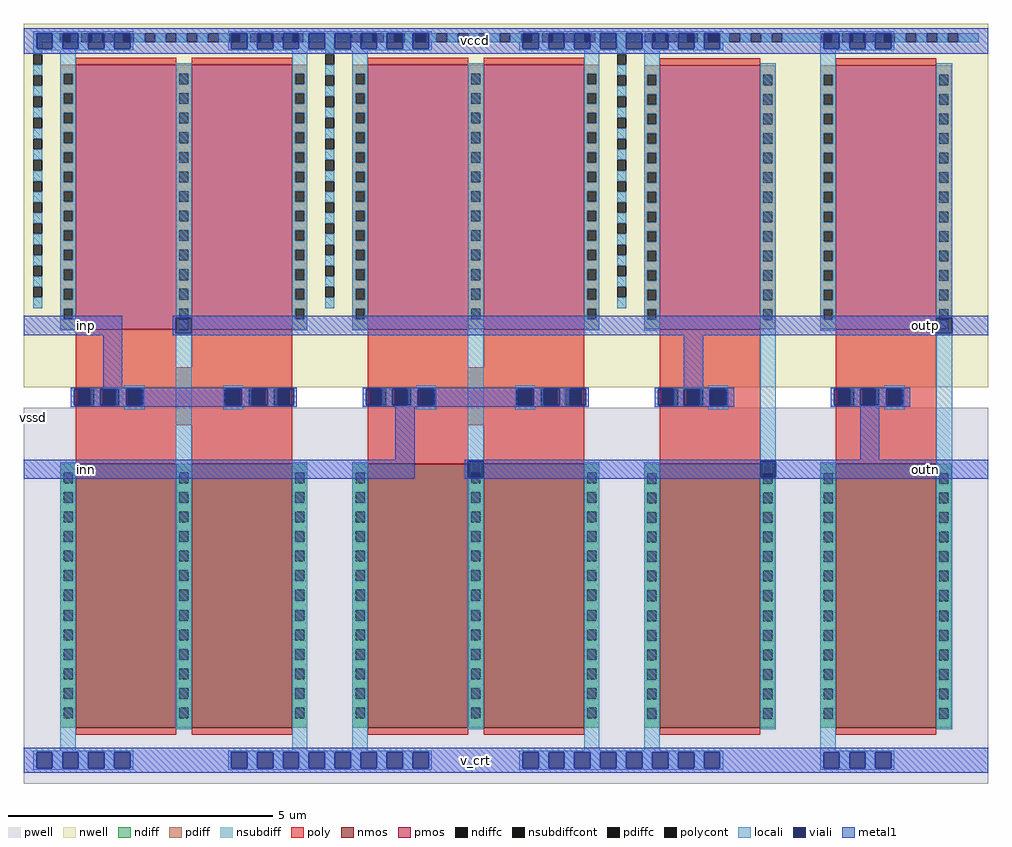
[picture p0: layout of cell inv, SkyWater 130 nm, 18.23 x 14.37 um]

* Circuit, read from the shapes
.subckt inv inn inp outn outp v_crt vccd vssd
XM1 outp inp v_crt vssd sky130_fd_pr__nfet_01v8 w=5 l=1.9 m=2
XM2 outn inn v_crt vssd sky130_fd_pr__nfet_01v8 w=5 l=1.9 m=2
XM3 outn outp v_crt vssd sky130_fd_pr__nfet_01v8 w=5 l=1.9
XM4 outp outn v_crt vssd sky130_fd_pr__nfet_01v8 w=5 l=1.9
XM5 outp inp vccd vccd sky130_fd_pr__pfet_01v8 w=5 l=1.9 m=2
XM6 outn inn vccd vccd sky130_fd_pr__pfet_01v8 w=5 l=1.9 m=2
XM7 outn outp vccd vccd sky130_fd_pr__pfet_01v8 w=5 l=1.9
XM8 outp outn vccd vccd sky130_fd_pr__pfet_01v8 w=5 l=1.9
.ends

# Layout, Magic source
magic
tech sky130A
magscale 1 2
<< pwell >>
rect -400 3308 -328 3380
rect 372 2012 1142 2084
rect 1474 2012 2244 2084
<< poly >>
rect -204 3534 176 3600
rect 234 3534 614 3600
rect -204 3450 614 3534
rect -204 3390 -194 3450
rect -134 3390 -100 3450
rect -40 3390 -6 3450
rect 54 3390 356 3450
rect 416 3390 450 3450
rect 510 3390 544 3450
rect 604 3390 614 3450
rect -204 3314 614 3390
rect -204 3246 176 3314
rect 234 3246 614 3314
rect 900 3534 1280 3600
rect 1338 3534 1718 3600
rect 900 3450 1718 3534
rect 900 3390 910 3450
rect 970 3390 1004 3450
rect 1064 3390 1098 3450
rect 1158 3390 1460 3450
rect 1520 3390 1554 3450
rect 1614 3390 1648 3450
rect 1708 3390 1718 3450
rect 900 3314 1718 3390
rect 900 3246 1280 3314
rect 1338 3246 1718 3314
rect 2004 3450 2384 3582
rect 2004 3390 2014 3450
rect 2074 3390 2108 3450
rect 2168 3390 2202 3450
rect 2262 3390 2384 3450
rect 2004 3258 2384 3390
rect 2670 3450 3050 3582
rect 2670 3390 2680 3450
rect 2740 3390 2774 3450
rect 2834 3390 2868 3450
rect 2928 3390 3050 3450
rect 2670 3258 3050 3390
<< polycont >>
rect -194 3390 -134 3450
rect -100 3390 -40 3450
rect -6 3390 54 3450
rect 356 3390 416 3450
rect 450 3390 510 3450
rect 544 3390 604 3450
rect 910 3390 970 3450
rect 1004 3390 1064 3450
rect 1098 3390 1158 3450
rect 1460 3390 1520 3450
rect 1554 3390 1614 3450
rect 1648 3390 1708 3450
rect 2014 3390 2074 3450
rect 2108 3390 2168 3450
rect 2202 3390 2262 3450
rect 2680 3390 2740 3450
rect 2774 3390 2834 3450
rect 2868 3390 2928 3450
<< locali >>
rect -364 4798 14 4804
rect -364 4738 -352 4798
rect -292 4738 -254 4798
rect -194 4738 -156 4798
rect -96 4738 -58 4798
rect 2 4738 14 4798
rect -364 4732 14 4738
rect 372 4798 1142 4804
rect 372 4738 384 4798
rect 444 4738 482 4798
rect 542 4738 580 4798
rect 640 4738 678 4798
rect 738 4738 776 4798
rect 836 4738 874 4798
rect 934 4738 972 4798
rect 1032 4738 1070 4798
rect 1130 4738 1142 4798
rect 372 4732 1142 4738
rect 1474 4798 2244 4804
rect 1474 4738 1486 4798
rect 1546 4738 1584 4798
rect 1644 4738 1682 4798
rect 1742 4738 1780 4798
rect 1840 4738 1878 4798
rect 1938 4738 1976 4798
rect 2036 4738 2074 4798
rect 2134 4738 2172 4798
rect 2232 4738 2244 4798
rect 1474 4732 2244 4738
rect 2612 4798 2892 4804
rect 2612 4738 2624 4798
rect 2684 4738 2722 4798
rect 2782 4738 2820 4798
rect 2880 4738 2892 4798
rect 2612 4732 2892 4738
rect 175 3722 235 4684
rect -20 3456 56 3466
rect -210 3450 56 3456
rect -134 3390 -112 3450
rect -40 3390 -14 3450
rect 54 3390 56 3450
rect -210 3384 56 3390
rect -20 3374 56 3384
rect -262 2084 -204 3174
rect 175 2166 235 3662
rect 354 3456 430 3466
rect 1084 3456 1160 3466
rect 354 3450 620 3456
rect 354 3390 356 3450
rect 424 3390 450 3450
rect 522 3390 544 3450
rect 354 3384 620 3390
rect 894 3450 1160 3456
rect 970 3390 992 3450
rect 1064 3390 1090 3450
rect 1158 3390 1160 3450
rect 894 3384 1160 3390
rect 354 3374 430 3384
rect 1084 3374 1160 3384
rect 1279 3178 1339 4684
rect 1458 3456 1534 3466
rect 2188 3456 2264 3466
rect 1458 3450 1724 3456
rect 1458 3390 1460 3450
rect 1528 3390 1554 3450
rect 1626 3390 1648 3450
rect 1458 3384 1724 3390
rect 1998 3450 2264 3456
rect 2074 3390 2096 3450
rect 2168 3390 2194 3450
rect 2262 3390 2264 3450
rect 1998 3384 2264 3390
rect 1458 3374 1534 3384
rect 2188 3374 2264 3384
rect 614 2084 672 3174
rect 842 2084 900 3174
rect 2384 3178 2444 4684
rect 3050 3722 3110 4684
rect 2854 3456 2930 3466
rect 2664 3450 2930 3456
rect 2740 3390 2762 3450
rect 2834 3390 2860 3450
rect 2928 3390 2930 3450
rect 2664 3384 2930 3390
rect 2854 3374 2930 3384
rect 1279 2166 1339 3118
rect 1718 2084 1776 3174
rect 1946 2084 2004 3174
rect 2384 2166 2444 3118
rect 2612 2084 2670 3174
rect 3050 2166 3110 3662
rect -364 2078 14 2084
rect -364 2018 -352 2078
rect -292 2018 -254 2078
rect -194 2018 -156 2078
rect -96 2018 -58 2078
rect 2 2018 14 2078
rect -364 2012 14 2018
rect 372 2078 1142 2084
rect 372 2018 384 2078
rect 444 2018 482 2078
rect 542 2018 580 2078
rect 640 2018 678 2078
rect 738 2018 776 2078
rect 836 2018 874 2078
rect 934 2018 972 2078
rect 1032 2018 1070 2078
rect 1130 2018 1142 2078
rect 372 2012 1142 2018
rect 1474 2078 2244 2084
rect 1474 2018 1486 2078
rect 1546 2018 1584 2078
rect 1644 2018 1682 2078
rect 1742 2018 1780 2078
rect 1840 2018 1878 2078
rect 1938 2018 1976 2078
rect 2036 2018 2074 2078
rect 2134 2018 2172 2078
rect 2232 2018 2244 2078
rect 1474 2012 2244 2018
rect 2612 2078 2892 2084
rect 2612 2018 2624 2078
rect 2684 2018 2722 2078
rect 2782 2018 2820 2078
rect 2880 2018 2892 2078
rect 2612 2012 2892 2018
<< viali >>
rect -352 4738 -292 4798
rect -254 4738 -194 4798
rect -156 4738 -96 4798
rect -58 4738 2 4798
rect 384 4738 444 4798
rect 482 4738 542 4798
rect 580 4738 640 4798
rect 678 4738 738 4798
rect 776 4738 836 4798
rect 874 4738 934 4798
rect 972 4738 1032 4798
rect 1070 4738 1130 4798
rect 1486 4738 1546 4798
rect 1584 4738 1644 4798
rect 1682 4738 1742 4798
rect 1780 4738 1840 4798
rect 1878 4738 1938 4798
rect 1976 4738 2036 4798
rect 2074 4738 2134 4798
rect 2172 4738 2232 4798
rect 2624 4738 2684 4798
rect 2722 4738 2782 4798
rect 2820 4738 2880 4798
rect 175 3662 235 3722
rect -210 3390 -194 3450
rect -194 3390 -150 3450
rect -112 3390 -100 3450
rect -100 3390 -52 3450
rect -14 3390 -6 3450
rect -6 3390 46 3450
rect 364 3390 416 3450
rect 416 3390 424 3450
rect 462 3390 510 3450
rect 510 3390 522 3450
rect 560 3390 604 3450
rect 604 3390 620 3450
rect 894 3390 910 3450
rect 910 3390 954 3450
rect 992 3390 1004 3450
rect 1004 3390 1052 3450
rect 1090 3390 1098 3450
rect 1098 3390 1150 3450
rect 1468 3390 1520 3450
rect 1520 3390 1528 3450
rect 1566 3390 1614 3450
rect 1614 3390 1626 3450
rect 1664 3390 1708 3450
rect 1708 3390 1724 3450
rect 1998 3390 2014 3450
rect 2014 3390 2058 3450
rect 2096 3390 2108 3450
rect 2108 3390 2156 3450
rect 2194 3390 2202 3450
rect 2202 3390 2254 3450
rect 1279 3118 1339 3178
rect 3050 3662 3110 3722
rect 2664 3390 2680 3450
rect 2680 3390 2724 3450
rect 2762 3390 2774 3450
rect 2774 3390 2822 3450
rect 2860 3390 2868 3450
rect 2868 3390 2920 3450
rect 2384 3118 2444 3178
rect -352 2018 -292 2078
rect -254 2018 -194 2078
rect -156 2018 -96 2078
rect -58 2018 2 2078
rect 384 2018 444 2078
rect 482 2018 542 2078
rect 580 2018 640 2078
rect 678 2018 738 2078
rect 776 2018 836 2078
rect 874 2018 934 2078
rect 972 2018 1032 2078
rect 1070 2018 1130 2078
rect 1486 2018 1546 2078
rect 1584 2018 1644 2078
rect 1682 2018 1742 2078
rect 1780 2018 1840 2078
rect 1878 2018 1938 2078
rect 1976 2018 2036 2078
rect 2074 2018 2134 2078
rect 2172 2018 2232 2078
rect 2624 2018 2684 2078
rect 2722 2018 2782 2078
rect 2820 2018 2880 2078
<< metal1 >>
rect -400 4798 3246 4816
rect -400 4738 -352 4798
rect -292 4738 -254 4798
rect -194 4738 -156 4798
rect -96 4738 -58 4798
rect 2 4738 384 4798
rect 444 4738 482 4798
rect 542 4738 580 4798
rect 640 4738 678 4798
rect 738 4738 776 4798
rect 836 4738 874 4798
rect 934 4738 972 4798
rect 1032 4738 1070 4798
rect 1130 4738 1486 4798
rect 1546 4738 1584 4798
rect 1644 4738 1682 4798
rect 1742 4738 1780 4798
rect 1840 4738 1878 4798
rect 1938 4738 1976 4798
rect 2036 4738 2074 4798
rect 2134 4738 2172 4798
rect 2232 4738 2624 4798
rect 2684 4738 2722 4798
rect 2782 4738 2820 4798
rect 2880 4738 3246 4798
rect -400 4720 3246 4738
rect -400 3656 -28 3728
rect 163 3722 3246 3728
rect 163 3662 175 3722
rect 235 3662 3050 3722
rect 3110 3662 3246 3722
rect 163 3656 3246 3662
rect -100 3456 -28 3656
rect 2096 3456 2168 3656
rect -222 3450 632 3456
rect -222 3390 -210 3450
rect -150 3390 -112 3450
rect -52 3390 -14 3450
rect 46 3390 364 3450
rect 424 3390 462 3450
rect 522 3390 560 3450
rect 620 3390 632 3450
rect -222 3384 632 3390
rect 882 3450 1736 3456
rect 882 3390 894 3450
rect 954 3390 992 3450
rect 1052 3390 1090 3450
rect 1150 3390 1468 3450
rect 1528 3390 1566 3450
rect 1626 3390 1664 3450
rect 1724 3390 1736 3450
rect 882 3384 1736 3390
rect 1986 3450 2286 3456
rect 1986 3390 1998 3450
rect 2058 3390 2096 3450
rect 2156 3390 2194 3450
rect 2254 3390 2286 3450
rect 1986 3384 2286 3390
rect 2652 3450 2952 3456
rect 2652 3390 2664 3450
rect 2724 3390 2762 3450
rect 2822 3390 2860 3450
rect 2920 3390 2952 3450
rect 2652 3384 2952 3390
rect 1005 3184 1077 3384
rect 2762 3184 2834 3384
rect -400 3112 1077 3184
rect 1267 3178 3246 3184
rect 1267 3118 1279 3178
rect 1339 3118 2384 3178
rect 2444 3118 3246 3178
rect 1267 3112 3246 3118
rect -400 2078 3246 2096
rect -400 2018 -352 2078
rect -292 2018 -254 2078
rect -194 2018 -156 2078
rect -96 2018 -58 2078
rect 2 2018 384 2078
rect 444 2018 482 2078
rect 542 2018 580 2078
rect 640 2018 678 2078
rect 738 2018 776 2078
rect 836 2018 874 2078
rect 934 2018 972 2078
rect 1032 2018 1070 2078
rect 1130 2018 1486 2078
rect 1546 2018 1584 2078
rect 1644 2018 1682 2078
rect 1742 2018 1780 2078
rect 1840 2018 1878 2078
rect 1938 2018 1976 2078
rect 2036 2018 2074 2078
rect 2134 2018 2172 2078
rect 2232 2018 2624 2078
rect 2684 2018 2722 2078
rect 2782 2018 2820 2078
rect 2880 2018 3246 2078
rect -400 2000 3246 2018
use nfet_12  nfet_12_0
transform 1 0 -262 0 1 2170
box -138 -210 1072 1210
use nfet_12  nfet_12_1
transform 1 0 842 0 1 2170
box -138 -210 1072 1210
use nfet_34  nfet_34_0
transform 1 0 2004 0 1 2170
box -196 -210 576 1210
use nfet_34  nfet_34_1
transform 1 0 2670 0 1 2170
box -196 -210 576 1210
use pfet_12  pfet_12_0
transform 1 0 -204 0 1 3679
box -196 -220 1014 1155
use pfet_12  pfet_12_1
transform 1 0 900 0 1 3679
box -196 -220 1014 1155
use pfet_34  pfet_34_0
transform 1 0 1808 0 1 3460
box 0 -2 772 1374
use pfet_34  pfet_34_1
transform 1 0 2474 0 1 3460
box 0 -2 772 1374
<< labels >>
flabel metal1 s 1260 4720 1356 4816 1 FreeSans 100 0 0 0 vccd
flabel metal1 s 1260 2000 1356 2096 1 FreeSans 100 0 0 0 v_crt
flabel metal1 s -200 3112 -128 3184 1 FreeSans 100 0 0 0 inn
flabel metal1 s -200 3656 -128 3728 1 FreeSans 100 0 0 0 inp
flabel metal1 s 2974 3656 3046 3728 1 FreeSans 100 0 0 0 outp
flabel metal1 s 2974 3112 3046 3184 1 FreeSans 100 0 0 0 outn
flabel pwell s -400 3308 -328 3380 1 FreeSans 100 0 0 0 vssd
<< end >>

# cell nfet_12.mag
magic
tech sky130A
<< pwell >>
rect -69 -105 536 605
<< nmos >>
rect 29 0 219 500
rect 248 0 438 500
<< ndiff >>
rect 0 483 29 500
rect 0 463 6 483
rect 23 463 29 483
rect 0 446 29 463
rect 0 426 6 446
rect 23 426 29 446
rect 0 409 29 426
rect 0 389 6 409
rect 23 389 29 409
rect 0 372 29 389
rect 0 352 6 372
rect 23 352 29 372
rect 0 335 29 352
rect 0 315 6 335
rect 23 315 29 335
rect 0 298 29 315
rect 0 278 6 298
rect 23 278 29 298
rect 0 261 29 278
rect 0 241 6 261
rect 23 241 29 261
rect 0 223 29 241
rect 0 203 6 223
rect 23 203 29 223
rect 0 186 29 203
rect 0 166 6 186
rect 23 166 29 186
rect 0 149 29 166
rect 0 129 6 149
rect 23 129 29 149
rect 0 112 29 129
rect 0 92 6 112
rect 23 92 29 112
rect 0 75 29 92
rect 0 55 6 75
rect 23 55 29 75
rect 0 38 29 55
rect 0 18 6 38
rect 23 18 29 38
rect 0 0 29 18
rect 219 483 248 500
rect 219 463 225 483
rect 242 463 248 483
rect 219 446 248 463
rect 219 426 225 446
rect 242 426 248 446
rect 219 409 248 426
rect 219 389 225 409
rect 242 389 248 409
rect 219 372 248 389
rect 219 352 225 372
rect 242 352 248 372
rect 219 335 248 352
rect 219 315 225 335
rect 242 315 248 335
rect 219 298 248 315
rect 219 278 225 298
rect 242 278 248 298
rect 219 261 248 278
rect 219 241 225 261
rect 242 241 248 261
rect 219 223 248 241
rect 219 203 225 223
rect 242 203 248 223
rect 219 186 248 203
rect 219 166 225 186
rect 242 166 248 186
rect 219 149 248 166
rect 219 129 225 149
rect 242 129 248 149
rect 219 112 248 129
rect 219 92 225 112
rect 242 92 248 112
rect 219 75 248 92
rect 219 55 225 75
rect 242 55 248 75
rect 219 38 248 55
rect 219 18 225 38
rect 242 18 248 38
rect 219 0 248 18
rect 438 483 467 500
rect 438 463 444 483
rect 461 463 467 483
rect 438 446 467 463
rect 438 426 444 446
rect 461 426 467 446
rect 438 409 467 426
rect 438 389 444 409
rect 461 389 467 409
rect 438 372 467 389
rect 438 352 444 372
rect 461 352 467 372
rect 438 335 467 352
rect 438 315 444 335
rect 461 315 467 335
rect 438 298 467 315
rect 438 278 444 298
rect 461 278 467 298
rect 438 261 467 278
rect 438 241 444 261
rect 461 241 467 261
rect 438 223 467 241
rect 438 203 444 223
rect 461 203 467 223
rect 438 186 467 203
rect 438 166 444 186
rect 461 166 467 186
rect 438 149 467 166
rect 438 129 444 149
rect 461 129 467 149
rect 438 112 467 129
rect 438 92 444 112
rect 461 92 467 112
rect 438 75 467 92
rect 438 55 444 75
rect 461 55 467 75
rect 438 38 467 55
rect 438 18 444 38
rect 461 18 467 38
rect 438 0 467 18
<< ndiffc >>
rect 6 463 23 483
rect 6 426 23 446
rect 6 389 23 409
rect 6 352 23 372
rect 6 315 23 335
rect 6 278 23 298
rect 6 241 23 261
rect 6 203 23 223
rect 6 166 23 186
rect 6 129 23 149
rect 6 92 23 112
rect 6 55 23 75
rect 6 18 23 38
rect 225 463 242 483
rect 225 426 242 446
rect 225 389 242 409
rect 225 352 242 372
rect 225 315 242 335
rect 225 278 242 298
rect 225 241 242 261
rect 225 203 242 223
rect 225 166 242 186
rect 225 129 242 149
rect 225 92 242 112
rect 225 55 242 75
rect 225 18 242 38
rect 444 463 461 483
rect 444 426 461 446
rect 444 389 461 409
rect 444 352 461 372
rect 444 315 461 335
rect 444 278 461 298
rect 444 241 461 261
rect 444 203 461 223
rect 444 166 461 186
rect 444 129 461 149
rect 444 92 461 112
rect 444 55 461 75
rect 444 18 461 38
<< poly >>
rect 29 500 219 544
rect 248 500 438 544
rect 29 -13 219 0
rect 248 -13 438 0
<< locali >>
rect 5 483 24 502
rect 5 463 6 483
rect 23 463 24 483
rect 5 446 24 463
rect 5 426 6 446
rect 23 426 24 446
rect 5 409 24 426
rect 5 389 6 409
rect 23 389 24 409
rect 5 372 24 389
rect 5 352 6 372
rect 23 352 24 372
rect 5 335 24 352
rect 5 315 6 335
rect 23 315 24 335
rect 5 298 24 315
rect 5 278 6 298
rect 23 278 24 298
rect 5 261 24 278
rect 5 241 6 261
rect 23 241 24 261
rect 5 223 24 241
rect 5 203 6 223
rect 23 203 24 223
rect 5 186 24 203
rect 5 166 6 186
rect 23 166 24 186
rect 5 149 24 166
rect 5 129 6 149
rect 23 129 24 149
rect 5 112 24 129
rect 5 92 6 112
rect 23 92 24 112
rect 5 75 24 92
rect 5 55 6 75
rect 23 55 24 75
rect 5 38 24 55
rect 5 18 6 38
rect 23 18 24 38
rect 5 -2 24 18
rect 224 483 243 502
rect 224 463 225 483
rect 242 463 243 483
rect 224 446 243 463
rect 224 426 225 446
rect 242 426 243 446
rect 224 409 243 426
rect 224 389 225 409
rect 242 389 243 409
rect 224 372 243 389
rect 224 352 225 372
rect 242 352 243 372
rect 224 335 243 352
rect 224 315 225 335
rect 242 315 243 335
rect 224 298 243 315
rect 224 278 225 298
rect 242 278 243 298
rect 224 261 243 278
rect 224 241 225 261
rect 242 241 243 261
rect 224 223 243 241
rect 224 203 225 223
rect 242 203 243 223
rect 224 186 243 203
rect 224 166 225 186
rect 242 166 243 186
rect 224 149 243 166
rect 224 129 225 149
rect 242 129 243 149
rect 224 112 243 129
rect 224 92 225 112
rect 242 92 243 112
rect 224 75 243 92
rect 224 55 225 75
rect 242 55 243 75
rect 224 38 243 55
rect 224 18 225 38
rect 242 18 243 38
rect 224 -2 243 18
rect 443 483 462 502
rect 443 463 444 483
rect 461 463 462 483
rect 443 446 462 463
rect 443 426 444 446
rect 461 426 462 446
rect 443 409 462 426
rect 443 389 444 409
rect 461 389 462 409
rect 443 372 462 389
rect 443 352 444 372
rect 461 352 462 372
rect 443 335 462 352
rect 443 315 444 335
rect 461 315 462 335
rect 443 298 462 315
rect 443 278 444 298
rect 461 278 462 298
rect 443 261 462 278
rect 443 241 444 261
rect 461 241 462 261
rect 443 223 462 241
rect 443 203 444 223
rect 461 203 462 223
rect 443 186 462 203
rect 443 166 444 186
rect 461 166 462 186
rect 443 149 462 166
rect 443 129 444 149
rect 461 129 462 149
rect 443 112 462 129
rect 443 92 444 112
rect 461 92 462 112
rect 443 75 462 92
rect 443 55 444 75
rect 461 55 462 75
rect 443 38 462 55
rect 443 18 444 38
rect 461 18 462 38
rect 443 -2 462 18
<< end >>

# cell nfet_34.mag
magic
tech sky130A
<< pwell >>
rect -98 -105 288 605
<< nmos >>
rect 0 0 190 500
<< ndiff >>
rect -29 482 0 500
rect -29 462 -23 482
rect -6 462 0 482
rect -29 445 0 462
rect -29 425 -23 445
rect -6 425 0 445
rect -29 408 0 425
rect -29 388 -23 408
rect -6 388 0 408
rect -29 371 0 388
rect -29 351 -23 371
rect -6 351 0 371
rect -29 334 0 351
rect -29 314 -23 334
rect -6 314 0 334
rect -29 297 0 314
rect -29 277 -23 297
rect -6 277 0 297
rect -29 260 0 277
rect -29 240 -23 260
rect -6 240 0 260
rect -29 222 0 240
rect -29 202 -23 222
rect -6 202 0 222
rect -29 185 0 202
rect -29 165 -23 185
rect -6 165 0 185
rect -29 148 0 165
rect -29 128 -23 148
rect -6 128 0 148
rect -29 111 0 128
rect -29 91 -23 111
rect -6 91 0 111
rect -29 74 0 91
rect -29 54 -23 74
rect -6 54 0 74
rect -29 37 0 54
rect -29 17 -23 37
rect -6 17 0 37
rect -29 0 0 17
rect 190 482 219 500
rect 190 462 196 482
rect 213 462 219 482
rect 190 445 219 462
rect 190 425 196 445
rect 213 425 219 445
rect 190 408 219 425
rect 190 388 196 408
rect 213 388 219 408
rect 190 371 219 388
rect 190 351 196 371
rect 213 351 219 371
rect 190 334 219 351
rect 190 314 196 334
rect 213 314 219 334
rect 190 297 219 314
rect 190 277 196 297
rect 213 277 219 297
rect 190 260 219 277
rect 190 240 196 260
rect 213 240 219 260
rect 190 222 219 240
rect 190 202 196 222
rect 213 202 219 222
rect 190 185 219 202
rect 190 165 196 185
rect 213 165 219 185
rect 190 148 219 165
rect 190 128 196 148
rect 213 128 219 148
rect 190 111 219 128
rect 190 91 196 111
rect 213 91 219 111
rect 190 74 219 91
rect 190 54 196 74
rect 213 54 219 74
rect 190 37 219 54
rect 190 17 196 37
rect 213 17 219 37
rect 190 0 219 17
<< ndiffc >>
rect -23 462 -6 482
rect -23 425 -6 445
rect -23 388 -6 408
rect -23 351 -6 371
rect -23 314 -6 334
rect -23 277 -6 297
rect -23 240 -6 260
rect -23 202 -6 222
rect -23 165 -6 185
rect -23 128 -6 148
rect -23 91 -6 111
rect -23 54 -6 74
rect -23 17 -6 37
rect 196 462 213 482
rect 196 425 213 445
rect 196 388 213 408
rect 196 351 213 371
rect 196 314 213 334
rect 196 277 213 297
rect 196 240 213 260
rect 196 202 213 222
rect 196 165 213 185
rect 196 128 213 148
rect 196 91 213 111
rect 196 54 213 74
rect 196 17 213 37
<< poly >>
rect 0 500 190 544
rect 0 -13 190 0
<< locali >>
rect -23 482 -6 502
rect -23 445 -6 462
rect -23 408 -6 425
rect -23 371 -6 388
rect -23 334 -6 351
rect -23 297 -6 314
rect -23 260 -6 277
rect -23 222 -6 240
rect -23 185 -6 202
rect -23 148 -6 165
rect -23 111 -6 128
rect -23 74 -6 91
rect -23 37 -6 54
rect -23 -2 -6 17
rect 196 482 213 502
rect 196 445 213 462
rect 196 408 213 425
rect 196 371 213 388
rect 196 334 213 351
rect 196 297 213 314
rect 196 260 213 277
rect 196 222 213 240
rect 196 185 213 202
rect 196 148 213 165
rect 196 111 213 128
rect 196 74 213 91
rect 196 37 213 54
rect 196 -2 213 17
<< end >>

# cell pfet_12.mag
magic
tech sky130A
magscale 1 2
<< nwell >>
rect -196 -220 1014 1155
<< pmos >>
rect 0 -1 380 999
rect 438 -1 818 999
<< pdiff >>
rect -58 965 0 999
rect -58 925 -46 965
rect -12 925 0 965
rect -58 891 0 925
rect -58 851 -46 891
rect -12 851 0 891
rect -58 817 0 851
rect -58 777 -46 817
rect -12 777 0 817
rect -58 743 0 777
rect -58 703 -46 743
rect -12 703 0 743
rect -58 669 0 703
rect -58 629 -46 669
rect -12 629 0 669
rect -58 595 0 629
rect -58 555 -46 595
rect -12 555 0 595
rect -58 521 0 555
rect -58 481 -46 521
rect -12 481 0 521
rect -58 447 0 481
rect -58 407 -46 447
rect -12 407 0 447
rect -58 373 0 407
rect -58 333 -46 373
rect -12 333 0 373
rect -58 299 0 333
rect -58 259 -46 299
rect -12 259 0 299
rect -58 225 0 259
rect -58 185 -46 225
rect -12 185 0 225
rect -58 151 0 185
rect -58 111 -46 151
rect -12 111 0 151
rect -58 77 0 111
rect -58 37 -46 77
rect -12 37 0 77
rect -58 -1 0 37
rect 380 965 438 999
rect 380 925 392 965
rect 426 925 438 965
rect 380 891 438 925
rect 380 851 392 891
rect 426 851 438 891
rect 380 817 438 851
rect 380 777 392 817
rect 426 777 438 817
rect 380 743 438 777
rect 380 703 392 743
rect 426 703 438 743
rect 380 669 438 703
rect 380 629 392 669
rect 426 629 438 669
rect 380 595 438 629
rect 380 555 392 595
rect 426 555 438 595
rect 380 521 438 555
rect 380 481 392 521
rect 426 481 438 521
rect 380 447 438 481
rect 380 407 392 447
rect 426 407 438 447
rect 380 373 438 407
rect 380 333 392 373
rect 426 333 438 373
rect 380 299 438 333
rect 380 259 392 299
rect 426 259 438 299
rect 380 225 438 259
rect 380 185 392 225
rect 426 185 438 225
rect 380 151 438 185
rect 380 111 392 151
rect 426 111 438 151
rect 380 77 438 111
rect 380 37 392 77
rect 426 37 438 77
rect 380 -1 438 37
rect 818 965 876 999
rect 818 925 830 965
rect 864 925 876 965
rect 818 891 876 925
rect 818 851 830 891
rect 864 851 876 891
rect 818 817 876 851
rect 818 777 830 817
rect 864 777 876 817
rect 818 743 876 777
rect 818 703 830 743
rect 864 703 876 743
rect 818 669 876 703
rect 818 629 830 669
rect 864 629 876 669
rect 818 595 876 629
rect 818 555 830 595
rect 864 555 876 595
rect 818 521 876 555
rect 818 481 830 521
rect 864 481 876 521
rect 818 447 876 481
rect 818 407 830 447
rect 864 407 876 447
rect 818 373 876 407
rect 818 333 830 373
rect 864 333 876 373
rect 818 299 876 333
rect 818 259 830 299
rect 864 259 876 299
rect 818 225 876 259
rect 818 185 830 225
rect 864 185 876 225
rect 818 151 876 185
rect 818 111 830 151
rect 864 111 876 151
rect 818 77 876 111
rect 818 37 830 77
rect 864 37 876 77
rect 818 -1 876 37
<< pdiffc >>
rect -46 925 -12 965
rect -46 851 -12 891
rect -46 777 -12 817
rect -46 703 -12 743
rect -46 629 -12 669
rect -46 555 -12 595
rect -46 481 -12 521
rect -46 407 -12 447
rect -46 333 -12 373
rect -46 259 -12 299
rect -46 185 -12 225
rect -46 111 -12 151
rect -46 37 -12 77
rect 392 925 426 965
rect 392 851 426 891
rect 392 777 426 817
rect 392 703 426 743
rect 392 629 426 669
rect 392 555 426 595
rect 392 481 426 521
rect 392 407 426 447
rect 392 333 426 373
rect 392 259 426 299
rect 392 185 426 225
rect 392 111 426 151
rect 392 37 426 77
rect 830 925 864 965
rect 830 851 864 891
rect 830 777 864 817
rect 830 703 864 743
rect 830 629 864 669
rect 830 555 864 595
rect 830 481 864 521
rect 830 407 864 447
rect 830 333 864 373
rect 830 259 864 299
rect 830 185 864 225
rect 830 111 864 151
rect 830 37 864 77
<< nsubdiff >>
rect -160 1085 -60 1119
rect -20 1085 20 1119
rect 60 1085 100 1119
rect 140 1085 180 1119
rect 220 1085 260 1119
rect 300 1085 340 1119
rect 380 1085 420 1119
rect 460 1085 500 1119
rect 540 1085 580 1119
rect 620 1085 660 1119
rect 700 1085 740 1119
rect 780 1085 820 1119
rect 860 1085 978 1119
rect -160 1039 -126 1085
rect 944 1039 978 1085
rect -160 959 -126 999
rect -160 879 -126 919
rect -160 799 -126 839
rect -160 719 -126 759
rect -160 639 -126 679
rect -160 559 -126 599
rect -160 479 -126 519
rect -160 399 -126 439
rect -160 319 -126 359
rect -160 239 -126 279
rect -160 159 -126 199
rect -160 79 -126 119
rect 944 959 978 999
rect 944 879 978 919
rect 944 799 978 839
rect 944 719 978 759
rect 944 639 978 679
rect 944 559 978 599
rect 944 479 978 519
rect 944 399 978 439
rect 944 319 978 359
rect 944 239 978 279
rect 944 159 978 199
rect 944 79 978 119
<< nsubdiffcont >>
rect -60 1085 -20 1119
rect 20 1085 60 1119
rect 100 1085 140 1119
rect 180 1085 220 1119
rect 260 1085 300 1119
rect 340 1085 380 1119
rect 420 1085 460 1119
rect 500 1085 540 1119
rect 580 1085 620 1119
rect 660 1085 700 1119
rect 740 1085 780 1119
rect 820 1085 860 1119
rect -160 999 -126 1039
rect 944 999 978 1039
rect -160 919 -126 959
rect -160 839 -126 879
rect -160 759 -126 799
rect -160 679 -126 719
rect -160 599 -126 639
rect -160 519 -126 559
rect -160 439 -126 479
rect -160 359 -126 399
rect -160 279 -126 319
rect -160 199 -126 239
rect -160 119 -126 159
rect 944 919 978 959
rect 944 839 978 879
rect 944 759 978 799
rect 944 679 978 719
rect 944 599 978 639
rect 944 519 978 559
rect 944 439 978 479
rect 944 359 978 399
rect 944 279 978 319
rect 944 199 978 239
rect 944 119 978 159
<< poly >>
rect 0 999 380 1025
rect 438 999 818 1025
rect 0 -98 380 -1
rect 438 -98 818 -1
<< locali >>
rect -160 1085 -60 1119
rect -20 1085 20 1119
rect 60 1085 100 1119
rect 140 1085 180 1119
rect 220 1085 260 1119
rect 300 1085 340 1119
rect 380 1085 420 1119
rect 460 1085 500 1119
rect 540 1085 580 1119
rect 620 1085 660 1119
rect 700 1085 740 1119
rect 780 1085 820 1119
rect 860 1085 978 1119
rect -160 1039 -126 1085
rect -160 959 -126 999
rect -160 879 -126 919
rect -160 799 -126 839
rect -160 719 -126 759
rect -160 639 -126 679
rect -160 559 -126 599
rect -160 479 -126 519
rect -160 399 -126 439
rect -160 319 -126 359
rect -160 239 -126 279
rect -160 159 -126 199
rect -160 79 -126 119
rect -58 965 0 1085
rect -58 925 -46 965
rect -12 925 0 965
rect -58 891 0 925
rect -58 851 -46 891
rect -12 851 0 891
rect -58 817 0 851
rect -58 777 -46 817
rect -12 777 0 817
rect -58 743 0 777
rect -58 703 -46 743
rect -12 703 0 743
rect -58 669 0 703
rect -58 629 -46 669
rect -12 629 0 669
rect -58 595 0 629
rect -58 555 -46 595
rect -12 555 0 595
rect -58 521 0 555
rect -58 481 -46 521
rect -12 481 0 521
rect -58 447 0 481
rect -58 407 -46 447
rect -12 407 0 447
rect -58 373 0 407
rect -58 333 -46 373
rect -12 333 0 373
rect -58 299 0 333
rect -58 259 -46 299
rect -12 259 0 299
rect -58 225 0 259
rect -58 185 -46 225
rect -12 185 0 225
rect -58 151 0 185
rect -58 111 -46 151
rect -12 111 0 151
rect -58 77 0 111
rect -58 37 -46 77
rect -12 37 0 77
rect -58 -5 0 37
rect 392 965 426 1003
rect 392 891 426 925
rect 392 817 426 851
rect 392 743 426 777
rect 392 669 426 703
rect 392 595 426 629
rect 392 521 426 555
rect 392 447 426 481
rect 392 373 426 407
rect 392 299 426 333
rect 392 225 426 259
rect 392 151 426 185
rect 392 77 426 111
rect 392 -5 426 37
rect 818 965 876 1085
rect 818 925 830 965
rect 864 925 876 965
rect 818 891 876 925
rect 818 851 830 891
rect 864 851 876 891
rect 818 817 876 851
rect 818 777 830 817
rect 864 777 876 817
rect 818 743 876 777
rect 818 703 830 743
rect 864 703 876 743
rect 818 669 876 703
rect 818 629 830 669
rect 864 629 876 669
rect 818 595 876 629
rect 818 555 830 595
rect 864 555 876 595
rect 818 521 876 555
rect 818 481 830 521
rect 864 481 876 521
rect 818 447 876 481
rect 818 407 830 447
rect 864 407 876 447
rect 818 373 876 407
rect 818 333 830 373
rect 864 333 876 373
rect 818 299 876 333
rect 818 259 830 299
rect 864 259 876 299
rect 818 225 876 259
rect 818 185 830 225
rect 864 185 876 225
rect 818 151 876 185
rect 818 111 830 151
rect 864 111 876 151
rect 818 77 876 111
rect 944 1039 978 1085
rect 944 959 978 999
rect 944 879 978 919
rect 944 799 978 839
rect 944 719 978 759
rect 944 639 978 679
rect 944 559 978 599
rect 944 479 978 519
rect 944 399 978 439
rect 944 319 978 359
rect 944 239 978 279
rect 944 159 978 199
rect 944 79 978 119
rect 818 37 830 77
rect 864 37 876 77
rect 818 -5 876 37
<< end >>

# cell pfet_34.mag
magic
tech sky130A
magscale 1 2
<< nwell >>
rect 0 -2 772 1374
<< pmos >>
rect 196 217 576 1217
<< pdiff >>
rect 138 1181 196 1217
rect 138 1141 150 1181
rect 184 1141 196 1181
rect 138 1107 196 1141
rect 138 1067 150 1107
rect 184 1067 196 1107
rect 138 1033 196 1067
rect 138 993 150 1033
rect 184 993 196 1033
rect 138 959 196 993
rect 138 919 150 959
rect 184 919 196 959
rect 138 885 196 919
rect 138 845 150 885
rect 184 845 196 885
rect 138 811 196 845
rect 138 771 150 811
rect 184 771 196 811
rect 138 737 196 771
rect 138 697 150 737
rect 184 697 196 737
rect 138 663 196 697
rect 138 623 150 663
rect 184 623 196 663
rect 138 589 196 623
rect 138 549 150 589
rect 184 549 196 589
rect 138 515 196 549
rect 138 475 150 515
rect 184 475 196 515
rect 138 441 196 475
rect 138 401 150 441
rect 184 401 196 441
rect 138 367 196 401
rect 138 327 150 367
rect 184 327 196 367
rect 138 293 196 327
rect 138 253 150 293
rect 184 253 196 293
rect 138 217 196 253
rect 576 1181 634 1217
rect 576 1141 588 1181
rect 622 1141 634 1181
rect 576 1107 634 1141
rect 576 1067 588 1107
rect 622 1067 634 1107
rect 576 1033 634 1067
rect 576 993 588 1033
rect 622 993 634 1033
rect 576 959 634 993
rect 576 919 588 959
rect 622 919 634 959
rect 576 885 634 919
rect 576 845 588 885
rect 622 845 634 885
rect 576 811 634 845
rect 576 771 588 811
rect 622 771 634 811
rect 576 737 634 771
rect 576 697 588 737
rect 622 697 634 737
rect 576 663 634 697
rect 576 623 588 663
rect 622 623 634 663
rect 576 589 634 623
rect 576 549 588 589
rect 622 549 634 589
rect 576 515 634 549
rect 576 475 588 515
rect 622 475 634 515
rect 576 441 634 475
rect 576 401 588 441
rect 622 401 634 441
rect 576 367 634 401
rect 576 327 588 367
rect 622 327 634 367
rect 576 293 634 327
rect 576 253 588 293
rect 622 253 634 293
rect 576 217 634 253
<< pdiffc >>
rect 150 1141 184 1181
rect 150 1067 184 1107
rect 150 993 184 1033
rect 150 919 184 959
rect 150 845 184 885
rect 150 771 184 811
rect 150 697 184 737
rect 150 623 184 663
rect 150 549 184 589
rect 150 475 184 515
rect 150 401 184 441
rect 150 327 184 367
rect 150 253 184 293
rect 588 1141 622 1181
rect 588 1067 622 1107
rect 588 993 622 1033
rect 588 919 622 959
rect 588 845 622 885
rect 588 771 622 811
rect 588 697 622 737
rect 588 623 622 663
rect 588 549 622 589
rect 588 475 622 515
rect 588 401 622 441
rect 588 327 622 367
rect 588 253 622 293
<< nsubdiff >>
rect 36 1304 140 1338
rect 180 1304 220 1338
rect 260 1304 300 1338
rect 340 1304 380 1338
rect 420 1304 460 1338
rect 500 1304 540 1338
rect 580 1304 620 1338
rect 660 1304 736 1338
<< nsubdiffcont >>
rect 140 1304 180 1338
rect 220 1304 260 1338
rect 300 1304 340 1338
rect 380 1304 420 1338
rect 460 1304 500 1338
rect 540 1304 580 1338
rect 620 1304 660 1338
<< poly >>
rect 196 1217 576 1243
rect 196 120 576 217
<< locali >>
rect 36 1304 140 1338
rect 180 1304 220 1338
rect 260 1304 300 1338
rect 340 1304 380 1338
rect 420 1304 460 1338
rect 500 1304 540 1338
rect 580 1304 620 1338
rect 660 1304 736 1338
rect 138 1181 196 1304
rect 138 1141 150 1181
rect 184 1141 196 1181
rect 138 1107 196 1141
rect 138 1067 150 1107
rect 184 1067 196 1107
rect 138 1033 196 1067
rect 138 993 150 1033
rect 184 993 196 1033
rect 138 959 196 993
rect 138 919 150 959
rect 184 919 196 959
rect 138 885 196 919
rect 138 845 150 885
rect 184 845 196 885
rect 138 811 196 845
rect 138 771 150 811
rect 184 771 196 811
rect 138 737 196 771
rect 138 697 150 737
rect 184 697 196 737
rect 138 663 196 697
rect 138 623 150 663
rect 184 623 196 663
rect 138 589 196 623
rect 138 549 150 589
rect 184 549 196 589
rect 138 515 196 549
rect 138 475 150 515
rect 184 475 196 515
rect 138 441 196 475
rect 138 401 150 441
rect 184 401 196 441
rect 138 367 196 401
rect 138 327 150 367
rect 184 327 196 367
rect 138 293 196 327
rect 138 253 150 293
rect 184 253 196 293
rect 138 212 196 253
rect 588 1181 622 1221
rect 588 1107 622 1141
rect 588 1033 622 1067
rect 588 959 622 993
rect 588 885 622 919
rect 588 811 622 845
rect 588 737 622 771
rect 588 663 622 697
rect 588 589 622 623
rect 588 515 622 549
rect 588 441 622 475
rect 588 367 622 401
rect 588 293 622 327
rect 588 213 622 253
<< end >>
